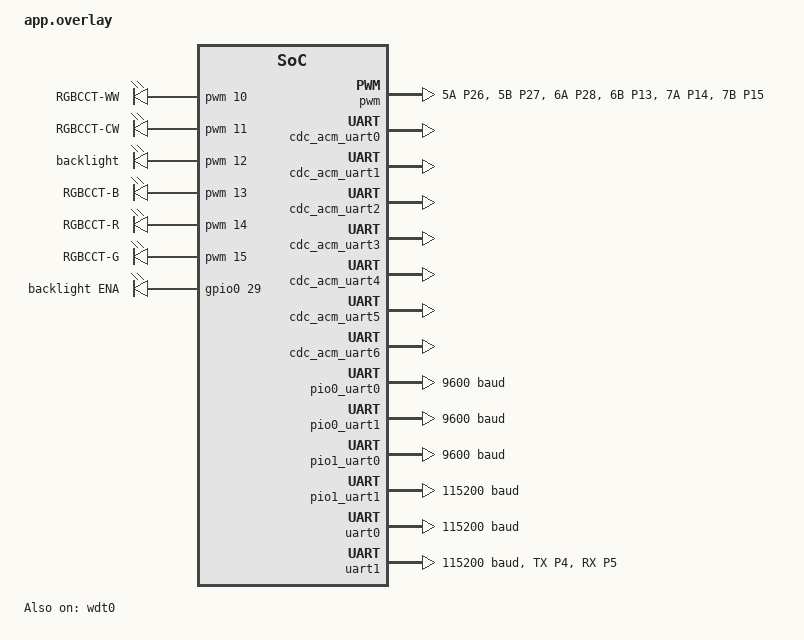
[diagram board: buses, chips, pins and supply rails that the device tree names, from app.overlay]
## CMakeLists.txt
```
# SPDX-License-Identifier: Apache-2.0

cmake_minimum_required(VERSION 3.20.0)

set(BOARD rp2040_zero)

find_package(Zephyr REQUIRED HINTS $ENV{ZEPHYR_BASE})
project(multicdc)

FILE(GLOB app_sources src/*.c)
target_sources(app PRIVATE ${app_sources})
```

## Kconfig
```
# Copyright (c) 2023 Nordic Semiconductor ASA
# SPDX-License-Identifier: Apache-2.0

source "Kconfig.zephyr"
```

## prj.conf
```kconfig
CONFIG_STDOUT_CONSOLE=y
CONFIG_USB_DEVICE_STACK=y
CONFIG_USB_DEVICE_PRODUCT="Zephyr CDC ACM multicdc"

# stealing Zephyr's VID for now
CONFIG_USB_DEVICE_VID=0x2FE3
CONFIG_USB_DEVICE_PID=0x6CDC

CONFIG_LOG=y
CONFIG_USB_DRIVER_LOG_LEVEL_ERR=y
CONFIG_USB_DEVICE_LOG_LEVEL_ERR=y
CONFIG_USB_CDC_ACM_LOG_LEVEL_OFF=y

CONFIG_SERIAL=y
CONFIG_CONSOLE=y
CONFIG_UART_CONSOLE=y
CONFIG_UART_LINE_CTRL=y
CONFIG_UART_INTERRUPT_DRIVEN=y
CONFIG_USB_DEVICE_INITIALIZE_AT_BOOT=n

# it wouldn't work with this many CDC channels
CONFIG_USB_MAX_NUM_TRANSFERS=16

CONFIG_SHELL=y
CONFIG_SHELL_PROMPT_UART="multicdc:~$ "

# catch stack overflows
CONFIG_STACK_SENTINEL=y

CONFIG_WATCHDOG=y
CONFIG_WDT_DISABLE_AT_BOOT=n

CONFIG_PWM=y

# I needed more logs for debug; we might as well keep it
CONFIG_LOG_SPEED=y
CONFIG_LOG_BUFFER_SIZE=4096
```

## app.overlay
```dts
/* vim: set filetype=dts : */
#include <zephyr/dt-bindings/pwm/pwm.h>

/*
* Copyright (c) 2021 Nordic Semiconductor ASA
*
* SPDX-License-Identifier: Apache-2.0
*/

/ {
    chosen {
        zephyr,console = &cdc_acm_uart6;
        zephyr,shell-uart = &cdc_acm_uart6;
    };

    aliases {
        watchdog0 = &wdt0;
    };

    pwmleds {
        compatible = "pwm-leds";
        status = "okay";
        pwm_led_rgbcct_w: pwm_led_5A {
            pwms = <&pwm 10 PWM_USEC(100) PWM_POLARITY_NORMAL>;
            label = "RGBCCT-WW";
        };
        pwm_led_rgbcct_c: pwm_led_5B {
            pwms = <&pwm 11 PWM_USEC(100) PWM_POLARITY_NORMAL>;
            label = "RGBCCT-CW";
        };
        pwm_led_backlight: pwm_led_6A {
            pwms = <&pwm 12 PWM_USEC(500) PWM_POLARITY_INVERTED>;
            label = "backlight";
        };
        pwm_led_rgbcct_b: pwm_led_6B {
            // needs to be the same frequency as 6A = backlight
            pwms = <&pwm 13 PWM_USEC(500) PWM_POLARITY_NORMAL>;
            label = "RGBCCT-B";
        };
        pwm_led_rgbcct_r: pwm_led_7A {
            pwms = <&pwm 14 PWM_USEC(100) PWM_POLARITY_NORMAL>;
            label = "RGBCCT-R";
        };
        pwm_led_rgbcct_g: pwm_led_7B {
            pwms = <&pwm 15 PWM_USEC(100) PWM_POLARITY_NORMAL>;
            label = "RGBCCT-G";
        };
    };

    leds {
        compatible = "gpio-leds";
        led_backlight_enable: led_29 {
            gpios = <&gpio0 29 GPIO_ACTIVE_HIGH>;
            label = "backlight ENA";
        };
    };
};

&pwm {
    status = "okay";
    // No need to set frequency for individual slices here, pwm-leds will do it
    // automatically.
    pinctrl-0 = <&pwm_default>;
    pinctrl-names = "default";
};

&zephyr_udc0 {
    cdc_acm_uart0: cdc_acm_uart0 {
        compatible = "zephyr,cdc-acm-uart";
        label = "Zephyr USB CDC-ACM 0";
    };

    cdc_acm_uart1: cdc_acm_uart1 {
        compatible = "zephyr,cdc-acm-uart";
        label = "Zephyr USB CDC-ACM 1";
    };

    cdc_acm_uart2: cdc_acm_uart2 {
        compatible = "zephyr,cdc-acm-uart";
        label = "Zephyr USB CDC-ACM 2";
    };

    cdc_acm_uart3: cdc_acm_uart3 {
        compatible = "zephyr,cdc-acm-uart";
        label = "Zephyr USB CDC-ACM 3";
    };

    cdc_acm_uart4: cdc_acm_uart4 {
        compatible = "zephyr,cdc-acm-uart";
        label = "Zephyr USB CDC-ACM 4";
    };

    cdc_acm_uart5: cdc_acm_uart5 {
        compatible = "zephyr,cdc-acm-uart";
        label = "Zephyr USB CDC-ACM 5";
    };

    cdc_acm_uart6: cdc_acm_uart6 {
        compatible = "zephyr,cdc-acm-uart";
        label = "Zephyr USB CDC-ACM 6 (log)";
    };

    // We can only have 7 CDCs. This is a fundamental USB limitation.
};


&pinctrl {
    uart1_default: uart1_default {
        group1 {
            pinmux = <UART1_TX_P4>;
        };
        group2 {
            pinmux = <UART1_RX_P5>;
            input-enable;
            bias-pull-up;
        };
    };

    pio0_uart0_default: pio0_uart0_default {
        rx_pins {
            pinmux = <PIO0_P3>;
            input-enable;
            bias-pull-up;
        };
        tx_pins {
            pinmux = <PIO0_P2>;
        };
    };

    pio0_uart1_default: pio0_uart1_default {
        rx_pins {
            pinmux = <PIO0_P7>;
            input-enable;
            bias-pull-up;
        };
        tx_pins {
            pinmux = <PIO0_P6>;
        };
    };

    pio1_uart0_default: pio1_uart0_default {
        rx_pins {
            pinmux = <PIO1_P9>;
            input-enable;
            bias-pull-up;
        };
        tx_pins {
            pinmux = <PIO1_P8>;
        };
    };

    pio1_uart1_default: pio1_uart1_default {
        rx_pins {
            pinmux = <PIO1_P11>;
            input-enable;
            bias-pull-up;
        };
        tx_pins {
            pinmux = <PIO1_P10>;
        };
    };

    pwm_default: pwm_default {
        group1 {
            pinmux = <PWM_5A_P26>;
        };
        group2 {
            pinmux = <PWM_5B_P27>;
        };
        group3 {
            pinmux = <PWM_6A_P28>;
        };
        group4 {
            pinmux = <PWM_6B_P13>;
        };
        group5 {
            pinmux = <PWM_7A_P14>;
        };
        group6 {
            pinmux = <PWM_7B_P15>;
        };
    };

};

&pio0 {
    status = "okay";

    pio0_uart0: uart0 {
        pinctrl-0 = <&pio0_uart0_default>;
        pinctrl-names = "default";

        compatible = "raspberrypi,pico-uart-pio";
        current-speed = <9600>;
        status = "okay";
    };

    pio0_uart1: uart1 {
        pinctrl-0 = <&pio0_uart1_default>;
        pinctrl-names = "default";

        compatible = "raspberrypi,pico-uart-pio";
        current-speed = <9600>;
        status = "okay";
    };
};

&pio1 {
    status = "okay";

    pio1_uart0: uart0 {
        pinctrl-0 = <&pio1_uart0_default>;
        pinctrl-names = "default";

        compatible = "raspberrypi,pico-uart-pio";
        current-speed = <9600>;
        status = "okay";
    };

    pio1_uart1: uart1 {
        pinctrl-0 = <&pio1_uart1_default>;
        pinctrl-names = "default";

        compatible = "raspberrypi,pico-uart-pio";
        current-speed = <115200>;
        status = "okay";
    };
};


&uart0 {
    current-speed = <115200>;
    /* pins: P0 Tx, P1 Rx */
};

&uart1 {
    current-speed = <115200>;
    status = "okay";
    pinctrl-0 = <&uart1_default>;
    pinctrl-names = "default";
};

&wdt0 {
    status = "okay";
};


&ws2812 {
    status = "disabled";
};
```

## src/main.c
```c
#include <stdio.h>
#include <stdlib.h>
#include <string.h>
#include <zephyr/device.h>
#include <zephyr/sys/printk.h>
#include <zephyr/drivers/uart.h>
#include <zephyr/kernel.h>
#include <zephyr/sys/ring_buffer.h>

#include <zephyr/usb/usb_device.h>
#include <zephyr/usb/usbd.h>
#include <zephyr/logging/log.h>

#include <zephyr/shell/shell.h>
#include <pico/bootrom.h>

#include <zephyr/drivers/watchdog.h>


BUILD_ASSERT(DT_NODE_HAS_COMPAT(DT_CHOSEN(zephyr_console), zephyr_cdc_acm_uart), "Console device is not ACM CDC UART device");

LOG_MODULE_REGISTER(multicdc, LOG_LEVEL_INF);

// We might not need this much (especially for non-CDC channels which can just
// pause reception on the CDC counterpart), but there's still a lot of RAM
// left.
#define RING_BUF_SIZE 10240

struct serial_channel {
    const struct device * dev;
    struct serial_channel * other;
    struct ring_buf rb;
    uint8_t buf[RING_BUF_SIZE];
    bool rx_throttled;
    uint8_t id;
};

struct serial_channel serial_channels[] = {
    // masters
    { .dev = DEVICE_DT_GET(DT_NODELABEL(cdc_acm_uart0)), },  // master 1
    { .dev = DEVICE_DT_GET(DT_NODELABEL(cdc_acm_uart1)), },
    { .dev = DEVICE_DT_GET(DT_NODELABEL(cdc_acm_uart2)), },
    { .dev = DEVICE_DT_GET(DT_NODELABEL(cdc_acm_uart3)), },
    { .dev = DEVICE_DT_GET(DT_NODELABEL(cdc_acm_uart4)), },
    { .dev = DEVICE_DT_GET(DT_NODELABEL(cdc_acm_uart5)), },
    // slaves
    { .dev = DEVICE_DT_GET(DT_NODELABEL(uart0)), },  // slave 1
    { .dev = DEVICE_DT_GET(DT_NODELABEL(pio0_uart0)), },
    { .dev = DEVICE_DT_GET(DT_NODELABEL(uart1)), },
    { .dev = DEVICE_DT_GET(DT_NODELABEL(pio0_uart1)), },
    { .dev = DEVICE_DT_GET(DT_NODELABEL(pio1_uart0)), },
    { .dev = DEVICE_DT_GET(DT_NODELABEL(pio1_uart1)), },
    // Master n is connected to slave n.
};

const unsigned n_ch_pairs = ARRAY_SIZE(serial_channels)/2;
uint16_t polling_channels = 0x00;

// thread stacks cannot be allocated dynamically on the heap
K_THREAD_STACK_DEFINE(stack_1, 256);
K_THREAD_STACK_DEFINE(stack_2, 256);
K_THREAD_STACK_DEFINE(stack_3, 256);
K_THREAD_STACK_DEFINE(stack_4, 256);

k_thread_stack_t * stacks[] = {
    stack_1,
    stack_2,
    stack_3,
    stack_4,
    NULL
};

unsigned stack_sizes[] = {
    K_THREAD_STACK_SIZEOF(stack_1),
    K_THREAD_STACK_SIZEOF(stack_2),
    K_THREAD_STACK_SIZEOF(stack_3),
    K_THREAD_STACK_SIZEOF(stack_4),
};

struct k_thread thread_datas[4];

const struct device *const wdt = DEVICE_DT_GET(DT_ALIAS(watchdog0));


static void interrupt_handler(const struct device *dev, void *user_data)
{
    struct serial_channel * channel = user_data;

    while (uart_irq_update(dev) && uart_irq_is_pending(dev))
    {
        if (!channel->rx_throttled && uart_irq_rx_ready(dev))
        {
            struct ring_buf *rb = &channel->other->rb;

            uint8_t buffer[64];
            size_t len = MIN(ring_buf_space_get(rb), sizeof(buffer));

            if (len == 0)
            {
                LOG_DBG("ch %u: throttling rx", channel->id);
                channel->rx_throttled = true;
                uart_irq_rx_disable(dev);
            }

            int recv_len = uart_fifo_read(dev, buffer, len);
            LOG_DBG("ch %u: ISR rx %u bytes", channel->id, recv_len);
            if (recv_len < 0) {
                LOG_ERR("ch %u: failed to read UART FIFO", channel->id);
                recv_len = 0;
            };

            int rb_len = ring_buf_put(rb, buffer, recv_len);
            if (rb_len < recv_len) {
                LOG_ERR("ch %u: ISR rx drop %u bytes", channel->id, recv_len - rb_len);
            }

            if (rb_len) {
                uart_irq_tx_enable(channel->other->dev);
            }
        }

        if (uart_irq_tx_ready(dev))
        {
            uint8_t buffer[64];  // max packet size for CDC

            int rb_len = ring_buf_peek(&channel->rb, buffer, sizeof(buffer));

            if (!rb_len) {
                LOG_DBG("ch %u: ring buffer empty, disable TX IRQ", channel->id);
                uart_irq_tx_disable(dev);
                continue;
            }

            int send_len = uart_fifo_fill(dev, buffer, rb_len);
            LOG_DBG("ch %u: ISR tx %u bytes", channel->id, send_len);
            // actually remove the bytes from the ring buffer
            ring_buf_get(&channel->rb, buffer, send_len);
            // allow further rx
            if (channel->other->rx_throttled)
            {
                LOG_DBG("ch %u: unthrottling rx", channel->other->id);
                channel->other->rx_throttled = false;
                uart_irq_rx_enable(channel->other->dev);
            }
        }
    }
}


void polling_timer_handler(struct k_timer *dummy)
{
    ARG_UNUSED(dummy);

    for (unsigned i = 0; i < ARRAY_SIZE(serial_channels); i++)
    {
        const struct serial_channel * channel = &serial_channels[i];
        if (!(polling_channels & (1<<i))) continue;
        // receive everything from this channel
        char c;
        size_t bytes_read = 0;
        while (!uart_poll_in(channel->dev, &c))
        {
            bytes_read++;
            LOG_DBG("ch %u: rx 1 byte '%c'", channel->id, c);
            if (ring_buf_put(&channel->other->rb, &c, 1))
            {
                uart_irq_tx_enable(channel->other->dev);
            }
            // There's no good way around dropping the byte,
            // the rx FIFO is extremely short.
            else LOG_ERR("ch %u: rx drop 1 byte", channel->id);
        }
        if (bytes_read > 2)
        {
            LOG_WRN("ch %u: rx >2 bytes, FIFO overrun possible", channel->id);
        }
    }
}

K_TIMER_DEFINE(polling_timer, polling_timer_handler, NULL);


/// thread entry point for polling uart
void polling_echo(void * p1, void * p2, void * p3)
{
    struct serial_channel * channel = p1;
    ARG_UNUSED(p2);
    ARG_UNUSED(p3);

    for (;;)
    {
        // uart_poll_out is a blocking call, hence the need for a separate
        // thread
        char c;
        while (ring_buf_get(&channel->rb, &c, 1))
        {
            if (channel->other->rx_throttled)
            {
                LOG_DBG("ch %u: unthrottling rx", channel->id);
                channel->other->rx_throttled = false;
                uart_irq_rx_enable(channel->other->dev);
            }

            LOG_DBG("ch %u: tx 1 byte '%c'", channel->id, c);
            uart_poll_out(channel->dev, c);
        }
        // If we fall out of the while loop, there is nothing to tx, and
        // there's no blocking call in the loop.
        // We need to yield to let other threads do their thing.
        k_sleep(K_USEC(50));
    }
}


static int cmd_bootload(const struct shell *sh, size_t argc, char **argv)
{
    wdt_disable(wdt);  // TODO is this needed?
    shell_print(sh, "jumping to bootloader");
    k_sleep(K_MSEC(500));
    // TODO this sometimes fails
    reset_usb_boot(0, 0);
    return 0;
}

SHELL_CMD_ARG_REGISTER(bootload, NULL, "jump to bootloader", cmd_bootload, 1, 0);

int main(void)
{
    if (!device_is_ready(wdt)) {
        printk("%s: device not ready.\n", wdt->name);
        return 0;
    }
    struct wdt_timeout_cfg wdt_config = {
        /* Reset SoC when watchdog timer expires. */
        .flags = WDT_FLAG_RESET_SOC,

        /* Expire watchdog after max window */
        .window.min = 0U,
        .window.max = 2000U,
    };
    int wdt_channel_id = wdt_install_timeout(wdt, &wdt_config);
    if (wdt_channel_id < 0)
    {
        LOG_ERR("watchdog install error");
        return 0;
    }

    if (wdt_setup(wdt, 0) < 0)
    {
        LOG_ERR("watchdog setup error");
        return 0;
    }

    wdt_feed(wdt, wdt_channel_id);

    if (usb_enable(NULL)) {
        LOG_ERR("Failed to enable USB");
        return 0;
    }

    for (unsigned i = 0; i < ARRAY_SIZE(serial_channels); i++)
    {
        serial_channels[i].id = i;
        if (!device_is_ready(serial_channels[i].dev)) {
            LOG_ERR("ch %d not ready", i);
            return 0;
        }

        ring_buf_init(&serial_channels[i].rb, sizeof(serial_channels[i].buf), serial_channels[i].buf);
    }

    // connect channels to each other
    for (unsigned i = 0; i < n_ch_pairs; i++)
    {
        serial_channels[i].other = &serial_channels[n_ch_pairs+i];
        serial_channels[n_ch_pairs+i].other = &serial_channels[i];
    }

    /* Wait 100ms for the host to do all settings */
    //k_msleep(100);

    for (unsigned i = 0; i < ARRAY_SIZE(serial_channels); i++)
    {
        int ret = uart_irq_callback_user_data_set(serial_channels[i].dev, interrupt_handler, &serial_channels[i]);
        // pio uart does not support interrupt API
        if (ret) polling_channels |= (1<<i);
    }

    LOG_WRN("channels do not support interrupts: %x", polling_channels);

    unsigned stack_id = 0;
    for (unsigned i = 0; i < ARRAY_SIZE(serial_channels); i++)
    {
        const struct serial_channel * channel = &serial_channels[i];
        if (polling_channels & (1<<i))
        {
            LOG_INF("creating thread for channel %i", i);
            if (stacks[stack_id] == NULL)
            {
                LOG_ERR("ran out of stacks for thread");
                k_sleep(K_MSEC(5));
                return 0;
            }

            k_thread_create(&thread_datas[stack_id], stacks[stack_id],
                    stack_sizes[stack_id],
                    polling_echo, (void *)channel, NULL, NULL,
                    2 /* priority */, 0, K_NO_WAIT);
            stack_id++;
        }
        else
        {
            /* Enable rx interrupts */
            uart_irq_rx_enable(channel->dev);
        }
    }

    /* start polling rx timer */
    /* 50 us should be frequent enough @ 115200 baud */
    k_timer_start(&polling_timer, K_USEC(50), K_USEC(50));

    for (;;)
    {
        // set the correct baud rate on all port pairs
        for (unsigned i = 0; i < n_ch_pairs; i++)
        {
            const struct device * master_dev = serial_channels[i].dev;
            const struct device * slave_dev = serial_channels[n_ch_pairs+i].dev;

            uint32_t baudrate;
            int ret = uart_line_ctrl_get(master_dev, UART_LINE_CTRL_BAUD_RATE, &baudrate);
            if (ret) {
                LOG_WRN("Failed to get baudrate, ret code %d", ret);
                continue;
            }

            struct uart_config cfg;
            // TODO pio UARTs don't support setting baudrate at runtime
            if ((ret = uart_config_get(slave_dev, &cfg)))
            {
                //LOG_WRN("Failed to get UART config on channel %d, ret code %d", i, ret);
                continue;
            }
            if (baudrate != cfg.baudrate)
            {
                LOG_INF("changing baud rate on channel %d to %u", i, baudrate);
                cfg.baudrate = baudrate;
                if ((ret = uart_configure(slave_dev, &cfg)))
                {
                    LOG_ERR("Failed to set UART config on channel %d, ret code %d", i, ret);
                    continue;
                }
            }
        }

        wdt_feed(wdt, wdt_channel_id);
        k_sleep(K_MSEC(10));
    }

    return 0;
}
```

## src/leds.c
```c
/*
 * Led strip control from Home Assistant via modbus. Heavily inspired by
 * zephyr/samples/subsys/modbus/rtu_server.
 */

#include <stdlib.h>
#include <zephyr/kernel.h>
#include <zephyr/device.h>
#include <zephyr/logging/log.h>
#include <zephyr/drivers/gpio.h>
#include <zephyr/drivers/pwm.h>
#include <zephyr/shell/shell.h>

LOG_MODULE_REGISTER(multicdc_leds, LOG_LEVEL_DBG);

K_SEM_DEFINE(leds_transition_sem, 0, 1);

#define LEDS_STACK 512
#define LEDS_PRIO 10  // lower priority than uart
#define TRANSITION_PERIOD_MS 15

#define MODBUS_NODE DT_COMPAT_GET_ANY_STATUS_OKAY(zephyr_modbus_serial)

// see tools/leds_gamma.py
static const uint16_t gamma255_65535[] = {
    0, 0, 0, 0, 1, 1, 2, 3, 4, 6, 8, 10, 13, 16, 19, 24, 28, 33, 39, 46, 53, 60, 69, 78, 88, 98, 110, 122, 135, 149, 164, 179, 196, 214, 232, 252, 273, 295, 317, 341, 366, 393, 420, 449, 478, 510, 542, 575, 610, 647, 684, 723, 764, 806, 849, 894, 940, 988, 1037, 1088, 1140, 1194, 1250, 1307, 1366, 1427, 1489, 1553, 1619, 1686, 1756, 1827, 1900, 1975, 2051, 2130, 2210, 2293, 2377, 2463, 2552, 2642, 2734, 2829, 2925, 3024, 3124, 3227, 3332, 3439, 3548, 3660, 3774, 3890, 4008, 4128, 4251, 4376, 4504, 4634, 4766, 4901, 5038, 5177, 5319, 5464, 5611, 5760, 5912, 6067, 6224, 6384, 6546, 6711, 6879, 7049, 7222, 7397, 7576, 7757, 7941, 8128, 8317, 8509, 8704, 8902, 9103, 9307, 9514, 9723, 9936, 10151, 10370, 10591, 10816, 11043, 11274, 11507, 11744, 11984, 12227, 12473, 12722, 12975, 13230, 13489, 13751, 14017, 14285, 14557, 14833, 15111, 15393, 15678, 15967, 16259, 16554, 16853, 17155, 17461, 17770, 18083, 18399, 18719, 19042, 19369, 19700, 20034, 20372, 20713, 21058, 21407, 21759, 22115, 22475, 22838, 23206, 23577, 23952, 24330, 24713, 25099, 25489, 25884, 26282, 26683, 27089, 27499, 27913, 28330, 28752, 29178, 29608, 30041, 30479, 30921, 31367, 31818, 32272, 32730, 33193, 33660, 34131, 34606, 35085, 35569, 36057, 36549, 37046, 37547, 38052, 38561, 39075, 39593, 40116, 40643, 41175, 41711, 42251, 42796, 43346, 43899, 44458, 45021, 45588, 46161, 46737, 47319, 47905, 48495, 49091, 49691, 50295, 50905, 51519, 52138, 52761, 53390, 54023, 54661, 55303, 55951, 56604, 57261, 57923, 58590, 59262, 59939, 60621, 61308, 62000, 62697, 63399, 64106, 64818, 65535
};

struct led_transition {
    // hardware configuration
    const struct pwm_dt_spec * const led_pwm;  //< PWM channel
    const struct gpio_dt_spec * const led_power;  //< power switch. Can be NULL.

    // internal state
    uint8_t brightness; //< current brightness
    uint8_t target;     //< target brightness
    uint8_t start;      //< start brightness (captured at set())
    uint32_t duration_ms; //< total transition duration
    uint32_t elapsed_ms;  //< elapsed time
    bool active;
};

void led_transition_start(struct led_transition * t, uint8_t target, uint32_t duration_ms)
{
    if (!t) return;

    t->start = t->brightness;
    t->target = target;
    t->duration_ms = duration_ms;
    t->elapsed_ms = 0;

    if (t->start == t->target) {
        t->active = false;
        return;
    }

    t->active = true;

    // turn the power on
    if (t->led_power && (t->start > 0 || t->target > 0)) {
        int r = gpio_pin_set_dt(t->led_power, 1);
        if (r) LOG_ERR("error setting GPIO high: %d", r);
    }

    // unblock transition loop
    k_sem_give(&leds_transition_sem);
}

void led_transition_apply_brightness(struct led_transition * t)
{
    if (!t || !t->led_pwm) return;
    // gamma-compensated brightness 0-65535
    uint16_t o = gamma255_65535[t->brightness];
    // set led brightness
    uint32_t pulse = (uint64_t)t->led_pwm->period * o / 65535;
    pwm_set_pulse_dt(t->led_pwm, pulse);
}

/**
 * Execute LED brightness transition. To be called every TRANSITION_PERIOD_MS.
 * @retval true if still running
 * @retval false if finished / not active
 */
bool led_transition_step(struct led_transition * t)
{
    if (!t || !t->active) return false;

    uint64_t elapsed = t->elapsed_ms + TRANSITION_PERIOD_MS;

    if (elapsed >= t->duration_ms) {
        // finish
        t->elapsed_ms = t->duration_ms;
        t->brightness = t->target;
        led_transition_apply_brightness(t);
        t->active = false;
        if (t->brightness == 0 && t->led_power) {
            int r = gpio_pin_set_dt(t->led_power, 0);
            if (r) LOG_ERR("error setting GPIO low: %d", r);
        }
        return false;
    }

    t->elapsed_ms = elapsed;

    // Interpolate: b = start + (target-start) * elapsed / duration
    int16_t delta = (int16_t)t->target - (int16_t)t->start;

    int64_t num = delta * (int64_t)t->elapsed_ms;
    int64_t den = t->duration_ms;
    // round-to-nearest
    int64_t adj = (num >= 0) ? (den / 2u) : -(den / 2u);
    int64_t b = (int64_t)t->start + (num + adj) / den;
    uint8_t next = CLAMP(b, 0, 255);

    if (next != t->brightness) {
        t->brightness = next;
        led_transition_apply_brightness(t);
    }
    return true;
}


static const struct pwm_dt_spec led_rgbcct_r = PWM_DT_SPEC_GET(DT_NODELABEL(pwm_led_rgbcct_r));
static const struct pwm_dt_spec led_rgbcct_g = PWM_DT_SPEC_GET(DT_NODELABEL(pwm_led_rgbcct_g));
static const struct pwm_dt_spec led_rgbcct_b = PWM_DT_SPEC_GET(DT_NODELABEL(pwm_led_rgbcct_b));
static const struct pwm_dt_spec led_rgbcct_c = PWM_DT_SPEC_GET(DT_NODELABEL(pwm_led_rgbcct_c));
static const struct pwm_dt_spec led_rgbcct_w = PWM_DT_SPEC_GET(DT_NODELABEL(pwm_led_rgbcct_w));
static const struct pwm_dt_spec led_backlight = PWM_DT_SPEC_GET(DT_NODELABEL(pwm_led_backlight));
static const struct gpio_dt_spec gpio_backlight_enable = GPIO_DT_SPEC_GET(DT_NODELABEL(led_backlight_enable), gpios);

static struct led_transition tran_rgbcct_r = {
    .led_pwm = &led_rgbcct_r,
};

static struct led_transition tran_rgbcct_g = {
    .led_pwm = &led_rgbcct_g,
};

static struct led_transition tran_rgbcct_b = {
    .led_pwm = &led_rgbcct_b,
};

static struct led_transition tran_rgbcct_c = {
    .led_pwm = &led_rgbcct_c,
};

static struct led_transition tran_rgbcct_w = {
    .led_pwm = &led_rgbcct_w,
};

static struct led_transition tran_backlight = {
    .led_pwm = &led_backlight,
    .led_power = &gpio_backlight_enable,
};


static struct led_transition * led_transitions[] = {
    &tran_rgbcct_r,
    &tran_rgbcct_g,
    &tran_rgbcct_b,
    &tran_rgbcct_c,
    &tran_rgbcct_w,
    &tran_backlight,
};


static void leds_thread(void *p1, void *p2, void *p3)
{
    ARG_UNUSED(p1);
    ARG_UNUSED(p2);
    ARG_UNUSED(p3);
    int ret;

    for (int i = 0; i < ARRAY_SIZE(led_transitions); i++) {
        if (led_transitions[i]->led_power) {
            if (!gpio_is_ready_dt(led_transitions[i]->led_power)) {
                LOG_ERR("LED%u GPIO device not ready", i);
                return;
            }
            ret = gpio_pin_configure_dt(led_transitions[i]->led_power, GPIO_OUTPUT_INACTIVE);
            if (ret) {
                LOG_ERR("failed to configure LED%u GPIO: %d", i, ret);
                return;
            }
        }

        if (!pwm_is_ready_dt(led_transitions[i]->led_pwm)) {
            LOG_ERR("LED%u PWM device not ready", i);
            return;
        }
        // Some LEDs have inverted PWM (need to be pulled to 3V3 to turn off).
        // That does not happen until the first pwm_set call.
        led_transition_apply_brightness(led_transitions[i]);
    }

    for (;;)
    {
        int64_t next = k_uptime_get();
        bool transitions_running;
        do {
            // execute transitions
            transitions_running = false;
            for (int i = 0; i < ARRAY_SIZE(led_transitions); i++) {
                transitions_running |= led_transition_step(led_transitions[i]);
            }

            // sleep
            int64_t now = k_uptime_get();
            next += TRANSITION_PERIOD_MS;
            int64_t delay = next - now;
            if (delay > 0) k_sleep(K_MSEC(delay));
            else {
                LOG_ERR("leds thread cannot keep up %" PRIi64, delay);
            }
        } while (transitions_running);

        LOG_DBG("all transitions done");
        // wait until another transition is triggered
        k_sem_take(&leds_transition_sem, K_FOREVER);
    }
}

K_THREAD_DEFINE(leds, LEDS_STACK, leds_thread, NULL, NULL, NULL, LEDS_PRIO, 0, 0);


static int cmd_leds_rgbcct(const struct shell *sh, size_t argc, char **argv)
{
    uint8_t r,g,b,c,w;
    int ret = 0;
    r = shell_strtoul(argv[1], 10, &ret);
    if (ret) {
        shell_error(sh, "failed to parse r");
        return ret;
    }

    g = shell_strtoul(argv[2], 10, &ret);
    if (ret) {
        shell_error(sh, "failed to parse g");
        return ret;
    }

    b = shell_strtoul(argv[3], 10, &ret);
    if (ret) {
        shell_error(sh, "failed to parse b");
        return ret;
    }

    c = shell_strtoul(argv[4], 10, &ret);
    if (ret) {
        shell_error(sh, "failed to parse c");
        return ret;
    }

    w = shell_strtoul(argv[5], 10, &ret);
    if (ret) {
        shell_error(sh, "failed to parse w");
        return ret;
    }

    uint32_t duration_ms = shell_strtoul(argv[6], 10, &ret);
    if (ret) {
        shell_error(sh, "failed to parse duration_ms");
        return ret;
    }

    shell_print(sh, "!rgbcct r=%u g=%u b=%u c=%u w=%u duration_ms=%u", r, g, b, c, w, duration_ms);

    led_transition_start(&tran_rgbcct_r, r, duration_ms);
    led_transition_start(&tran_rgbcct_g, g, duration_ms);
    led_transition_start(&tran_rgbcct_b, b, duration_ms);
    led_transition_start(&tran_rgbcct_c, c, duration_ms);
    led_transition_start(&tran_rgbcct_w, w, duration_ms);
    return 0;
}
SHELL_CMD_ARG_REGISTER(rgbcct, NULL, "Set led strip brightness\nUsage: rgbcct <r> <g> <b> <c> <w> <duration_ms>", cmd_leds_rgbcct, 7, 0);


static int cmd_leds_backlight(const struct shell *sh, size_t argc, char **argv)
{
    int ret = 0;
    uint8_t duty = shell_strtoul(argv[1], 10, &ret);
    if (ret) {
        shell_error(sh, "failed to parse duty");
        return ret;
    }

    uint32_t duration_ms = shell_strtoul(argv[2], 10, &ret);
    if (ret) {
        shell_error(sh, "failed to parse duration_ms");
        return ret;
    }

    shell_print(sh, "!backlight duty=%u duration_ms=%u", duty, duration_ms);

    led_transition_start(&tran_backlight, duty, duration_ms);
    return 0;
}
SHELL_CMD_ARG_REGISTER(backlight, NULL, "Set backlight LED brightness\nUsage: backlight <duty> <duration_ms>", cmd_leds_backlight, 3, 0);


static int cmd_leds_state(const struct shell *sh, size_t argc, char **argv)
{
    shell_print(sh, "!rgbcct r=%u g=%u b=%u c=%u w=%u duration_ms=%u",
                tran_rgbcct_r.target,
                tran_rgbcct_g.target,
                tran_rgbcct_b.target,
                tran_rgbcct_c.target,
                tran_rgbcct_w.target,
                (tran_rgbcct_w.duration_ms - tran_rgbcct_w.elapsed_ms)
                );
    shell_print(sh, "!backlight duty=%u duration_ms=%u",
                tran_backlight.target,
                (tran_backlight.duration_ms - tran_backlight.elapsed_ms)
                );
    shell_print(sh, "!ledstate");
    return 0;
}
SHELL_CMD_REGISTER(ledstate, NULL, "Get LED states", cmd_leds_state);
```
